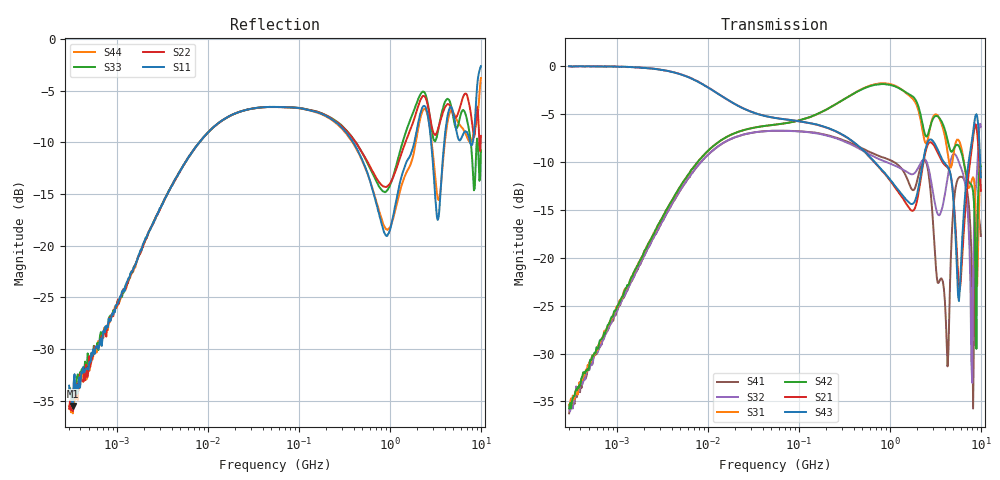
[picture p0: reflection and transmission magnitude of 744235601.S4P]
! This data is being provided by Wuerth Elektronik eiSos GmbH & Co. KG to the industry for analysis.
! Document information:
! Version:rev19a Date: 16/12/2019
! Component information:
! Match Code: WE-CNSW P/N: 744235601 Size: 1812
! Disclaimer:  While Würth Elektronik eiSos has made every reasonable effort to ensure the accuracy
! of the information provided, Würth Elektronik eiSos does not guarantee the exemption of error on the
! data collection measurements, nor does Würth Elektronik eiSos guarantee that the information is current.
! Würth Elektronik eiSos reserves the right to make any adjustments at any time without notice.
! Würth Elektronik eiSos expressly disclaims all implied warranties regarding this measurement data collection.
! Note 1  This data measurement is representative according to the product implementation into the fixture.
! Component behavior is sensitive to implementation into the fixture, which includes board
! materials, trace geometry information, connector pin out, layer connection, use of de-embedding
! techniques, etc.
! Note 2 - The fixture was designed specifically to match the 50 Ohm line impedance, as well as the connector impedance,
! in order to accomplish a reliable measurement without reflections in the trace. Any other implementation of the fixture will change the obtained
! measurement performance. The used fixture behavior was de-embedded to accomplish reliable measurement results.
! The test setup consisted of the following:
!  - Agilent VNA E5071C or E5071B
!  - Calibrations are SOLT (short open load thru)
!  - De-embedding of the SMA's or line cards were included
!  - Equipment Settings -
!  - Sampling - 501 points
!  - IF BW  70 kHz
!  - Averaging  Not used
!  Port 1----->|1|  |2| -----> Port 3
!  |  DUT  |
!  Port 2----->|3|  |4| -----> Port 4
!*VNA Port --> |Port in Datasheet|
! |Port in Datasheet| --> VNA Port
! For further information regarding this testing, please contact
! Wuerth Elektronik eiSos
! Contact: EDA team in QDC
! Email: libraries@we-online.com or libraries@we-online.de
# Hz S dB R 50
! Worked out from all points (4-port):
!   501 points, 300 kHz to 10 GHz, reference 50 ohm
!   strongest paths, dB at 300 kHz, 4.054 MHz, 54.77 MHz, 740.1 MHz, 10 GHz:
!     S43: 0.0, -0.6, -5.4, -10.4, -11.6
!     S21: 0.0, -0.6, -5.4, -10.4, -13.0
!     S42: -35.7, -14.0, -6.1, -1.9, -10.5
!     S31: -35.4, -14.1, -6.1, -1.8, -10.9
!     S32: -35.5, -14.4, -6.8, -9.7, -6.3
!     S41: -36.2, -14.4, -6.8, -9.3, -17.7
!   lowest |S11| = -35.5 dB at 329.3 kHz (marker M1), VSWR 1.03, Z = 50.3 + j1.64 ohm
!   |S11| at or under -10 dB: 395.5 MHz to 1.856 GHz (1.461 GHz wide, 130 % of centre); 2.841 GHz to 3.961 GHz (1.121 GHz wide, 33 % of centre); 7.627 GHz to 8.145 GHz (518.1 MHz wide, 6.57 % of centre)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
300000  -33.55 85.2  -0.07 -1.0  -36.04 86.2  -35.74 -97.6
        -0.03 -1.2  -35.78 83.4  -35.37 -97.4  -35.83 84.4
        -35.36 84.1  -35.47 -88.8  -33.90 91.4  -0.05 -0.8
        -36.23 -100.4  -35.72 88.2  -0.03 -1.0  -35.54 78.2
329339  -35.54 77.4  -0.04 -0.9  -35.02 84.4  -34.87 -90.0
        -0.06 -1.0  -36.02 77.6  -35.33 -90.8  -34.51 87.1
        -34.39 85.1  -35.74 -93.0  -35.58 84.0  -0.03 -0.9
        -35.06 -90.5  -34.63 88.0  -0.06 -1.0  -36.22 87.7
1.873771e7  -7.31 22.8  -3.83 -20.2  -7.09 27.7  -7.52 -157.9
            -3.83 -20.2  -7.31 23.4  -7.53 -157.2  -7.09 27.7
            -7.10 27.7  -7.54 -157.2  -7.31 23.3  -3.83 -20.1
            -7.53 -157.9  -7.10 27.8  -3.84 -20.1  -7.31 22.8
7.739338e8  -17.20 -54.4  -10.65 -99.6  -1.82 -15.2  -9.42 65.2
            -10.66 -99.7  -13.92 -30.7  -9.74 83.3  -1.89 -14.0
            -1.82 -15.3  -9.74 83.3  -14.37 -30.2  -10.60 -99.7
            -9.42 65.2  -1.89 -14.0  -10.59 -99.6  -16.82 -52.8
5.741759e9  -9.77 -102.5  -23.01 114.3  -7.79 -122.9  -11.65 -58.7
            -23.04 115.5  -6.94 -91.7  -10.00 -62.0  -8.38 -120.0
            -7.79 -122.9  -10.04 -62.2  -8.02 -99.4  -24.52 95.1
            -11.63 -58.4  -8.38 -119.9  -24.53 96.3  -8.20 -101.7
7.853338e9  -10.29 -109.5  -8.99 -87.0  -12.17 -162.5  -19.65 174.4
            -8.97 -87.5  -7.54 -132.6  -31.15 167.1  -12.39 -167.3
            -12.10 -161.5  -30.86 165.4  -10.54 -154.9  -8.22 -88.5
            -19.43 171.4  -12.39 -166.2  -8.20 -88.6  -9.87 -108.3
1e10  -2.62 -147.4  -12.94 47.5  -10.96 159.1  -18.05 179.7
      -13.03 46.9  -9.37 -140.5  -6.30 -174.9  -10.54 170.0
      -10.94 158.5  -6.33 -173.8  -10.74 -118.4  -11.62 52.3
      -17.73 -178.9  -10.45 170.2  -11.63 51.6  -3.77 -130.5
